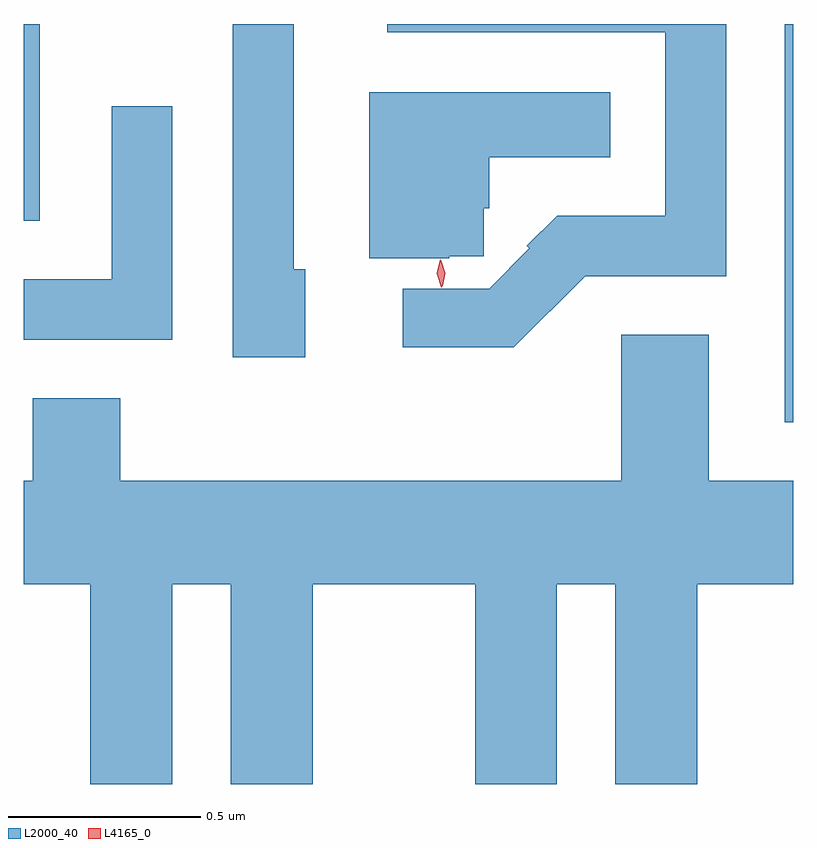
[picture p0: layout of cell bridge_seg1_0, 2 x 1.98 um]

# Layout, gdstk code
import gdstk
lib = gdstk.Library(unit=1e-6, precision=1e-09)
def R(c, l, rs):  # rectangles x0, y0, x1, y1
    for r in rs: c.add(gdstk.rectangle(r[:2], r[2:], *l))
def P(c, l, *ps):  # polygons
    for p in ps: c.add(gdstk.Polygon(p, *l))
L2000_40 = (2000, 40)
L4165_0 = (4165, 0)

bridge_seg1_0 = lib.new_cell('bridge_seg1_0')
R(bridge_seg1_0, L2000_40, [(1483.256,864.476,1483.278,865.512), (1481.278,865.001,1481.319,865.512)])
P(bridge_seg1_0, L2000_40, [(1482.009,864.874),(1481.979,864.874),(1481.979,865.512),(1481.821,865.512),(1481.821,864.646),(1482.009,864.646)],
  [(1482.737,864.856),(1483.104,864.856),(1483.104,865.512),(1482.223,865.512),(1482.223,865.491),(1482.946,865.491),(1482.946,865.014),(1482.665,865.014),(1482.586,864.935),(1482.592,864.929),(1482.488,864.824),(1482.263,864.824),(1482.263,864.671),(1482.552,864.671)],
  [(1482.384,864.908),(1482.474,864.908),(1482.474,865.033),(1482.488,865.033),(1482.488,865.166),(1482.803,865.166),(1482.803,865.334),(1482.176,865.334),(1482.176,864.903),(1482.384,864.903)],
  [(1481.664,865.298),(1481.506,865.298),(1481.506,864.849),(1481.278,864.849),(1481.278,864.691),(1481.664,864.691)],
  [(1481.664,864.056),(1481.816,864.056),(1481.816,863.536),(1482.029,863.536),(1482.029,864.056),(1482.451,864.056),(1482.451,863.536),(1482.664,863.536),(1482.664,864.056),(1482.816,864.056),(1482.816,863.536),(1483.029,863.536),(1483.029,864.056),(1483.278,864.056),(1483.278,864.324),(1483.059,864.324),(1483.059,864.704),(1482.831,864.704),(1482.831,864.324),(1481.529,864.324),(1481.529,864.539),(1481.301,864.539),(1481.301,864.324),(1481.278,864.324),(1481.278,864.056),(1481.451,864.056),(1481.451,863.536),(1481.664,863.536)])
P(bridge_seg1_0, L4165_0, [(1482.366,864.83),(1482.366,864.831),(1482.355,864.864),(1482.362,864.897),(1482.363,864.898),(1482.363,864.897),(1482.374,864.864),(1482.367,864.831)],
  [(1482.363,864.828),(1482.352,864.864),(1482.36,864.899),(1482.36,864.9),(1482.361,864.899),(1482.372,864.864),(1482.364,864.828),(1482.364,864.828)])

lib.write_gds('bridge_seg1_0.gds')
